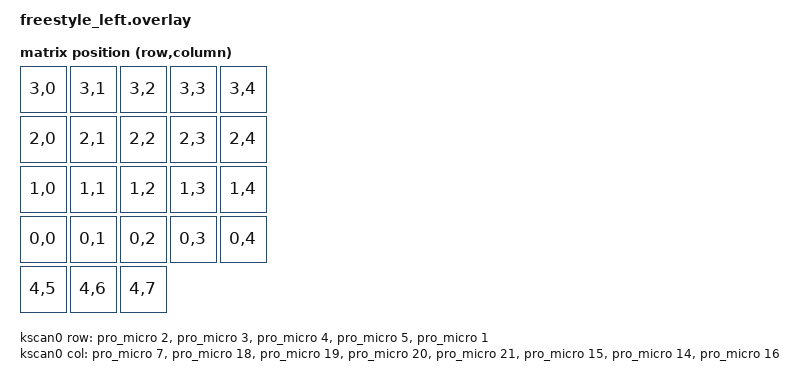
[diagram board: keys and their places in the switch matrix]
#include <dt-bindings/zmk/matrix_transform.h>
#include <zephyr/dt-bindings/gpio/gpio.h>

/ {
    kscan0: kscan0 {
        compatible = "zmk,kscan-gpio-matrix";
        diode-direction = "row2col";
        wakeup-source;

        /*
         * Pins taken directly from Freestyle_L.kicad_pcb (net names P1, P2, ...
         * match the &pro_micro numbers).
         *
         * Columns (switch pin 1):  pinky P7, ring P18, middle P19, index P20,
         *                          inner P21, thumbs P15 / P14 / P16
         * Rows (diode pad 1):      bottom P2, home P3, top P4, upper P5,
         *                          thumb row P1
         *
         * row2col: use this when the diode stripes (cathodes) face the
         * switch/column side. For stripes on the row side, use col2row with
         * the pull-downs on the rows instead.
         */
        col-gpios =
            <&pro_micro 7  (GPIO_ACTIVE_HIGH | GPIO_PULL_DOWN)>,   /* col 0: pinky  */
            <&pro_micro 18 (GPIO_ACTIVE_HIGH | GPIO_PULL_DOWN)>,   /* col 1: ring   */
            <&pro_micro 19 (GPIO_ACTIVE_HIGH | GPIO_PULL_DOWN)>,   /* col 2: middle */
            <&pro_micro 20 (GPIO_ACTIVE_HIGH | GPIO_PULL_DOWN)>,   /* col 3: index  */
            <&pro_micro 21 (GPIO_ACTIVE_HIGH | GPIO_PULL_DOWN)>,   /* col 4: inner  */
            <&pro_micro 15 (GPIO_ACTIVE_HIGH | GPIO_PULL_DOWN)>,   /* col 5: thumb 1 (left)   */
            <&pro_micro 14 (GPIO_ACTIVE_HIGH | GPIO_PULL_DOWN)>,   /* col 6: thumb 2 (middle) */
            <&pro_micro 16 (GPIO_ACTIVE_HIGH | GPIO_PULL_DOWN)>;   /* col 7: thumb 3 (right)  */

        row-gpios =
            <&pro_micro 2 GPIO_ACTIVE_HIGH>,   /* row 0: bottom */
            <&pro_micro 3 GPIO_ACTIVE_HIGH>,   /* row 1: home   */
            <&pro_micro 4 GPIO_ACTIVE_HIGH>,   /* row 2: top    */
            <&pro_micro 5 GPIO_ACTIVE_HIGH>,   /* row 3: upper  */
            <&pro_micro 1 GPIO_ACTIVE_HIGH>;   /* row 4: thumbs */
    };

    default_transform: keymap_transform {
        compatible = "zmk,matrix-transform";
        columns = <8>;
        rows = <5>;

        /* Reads top row to bottom row, left to right, then the 3 thumb keys */
        map = <
            RC(3,0) RC(3,1) RC(3,2) RC(3,3) RC(3,4)
            RC(2,0) RC(2,1) RC(2,2) RC(2,3) RC(2,4)
            RC(1,0) RC(1,1) RC(1,2) RC(1,3) RC(1,4)
            RC(0,0) RC(0,1) RC(0,2) RC(0,3) RC(0,4)
            RC(4,5) RC(4,6) RC(4,7)
        >;
    };

    chosen {
        zmk,kscan = &kscan0;
        zmk,matrix-transform = &default_transform;
    };
};
